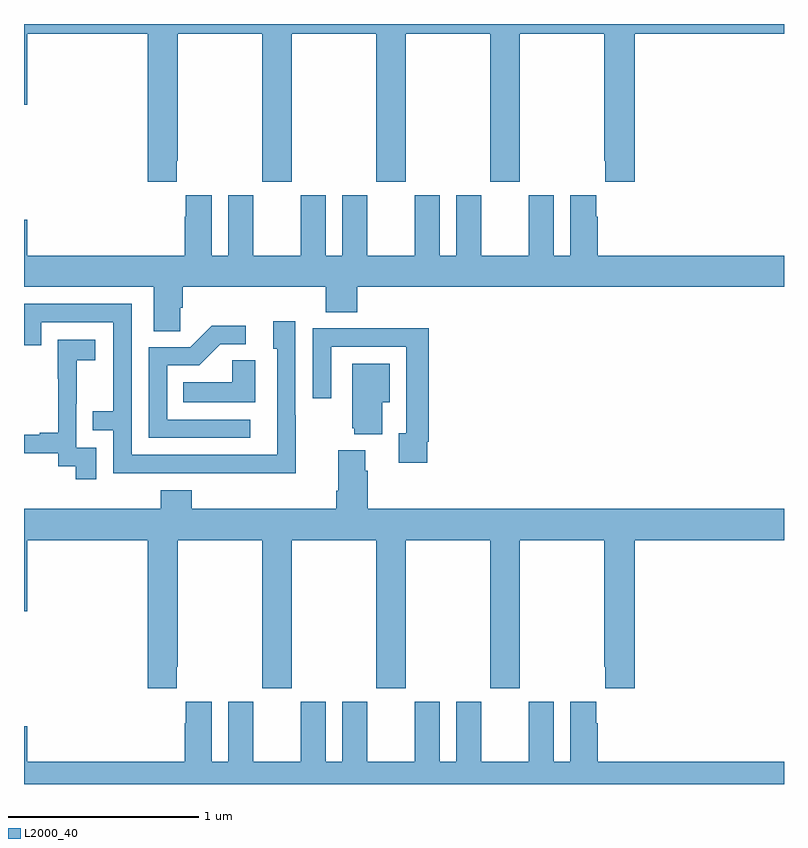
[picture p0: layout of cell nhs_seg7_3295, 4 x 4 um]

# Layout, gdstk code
import gdstk
lib = gdstk.Library(unit=1e-6, precision=1e-09)
def P(c, l, *ps):  # polygons
    for p in ps: c.add(gdstk.Polygon(p, *l))
L2000_40 = (2000, 40)

nhs_seg7_3295 = lib.new_cell('nhs_seg7_3295')
P(nhs_seg7_3295, L2000_40, [(321.805,1001.281),(321.81,1001.281),(321.81,1001.948),(322.255,1001.948),(322.255,1001.169),(322.41,1001.169),(322.41,1001.948),(322.855,1001.948),(322.855,1001.169),(323.01,1001.169),(323.01,1001.948),(323.455,1001.948),(323.455,1001.169),(323.61,1001.169),(323.61,1001.948),(324.055,1001.948),(324.055,1001.281),(324.059,1001.281),(324.059,1001.169),(324.215,1001.169),(324.215,1001.948),(325,1001.948),(325,1002),(321,1002),(321,1001.574),(321.016,1001.574),(321.016,1001.948),(321.65,1001.948),(321.65,1001.169),(321.805,1001.169)],
  [(321.822,1000.507),(321.836,1000.507),(321.836,1000.616),(322.589,1000.616),(322.589,1000.483),(322.754,1000.483),(322.754,1000.616),(325,1000.616),(325,1000.78),(324.02,1000.78),(324.02,1000.985),(324.013,1000.985),(324.013,1001.098),(323.876,1001.098),(323.876,1000.78),(323.788,1000.78),(323.788,1001.098),(323.657,1001.098),(323.657,1000.78),(323.407,1000.78),(323.407,1001.098),(323.276,1001.098),(323.276,1000.78),(323.188,1000.78),(323.188,1001.098),(323.057,1001.098),(323.057,1000.78),(322.807,1000.78),(322.807,1001.098),(322.676,1001.098),(322.676,1000.78),(322.588,1000.78),(322.588,1001.098),(322.457,1001.098),(322.457,1000.78),(322.207,1000.78),(322.207,1001.098),(322.076,1001.098),(322.076,1000.78),(321.988,1000.78),(321.988,1001.098),(321.851,1001.098),(321.851,1000.985),(321.845,1000.985),(321.845,1000.78),(321.016,1000.78),(321.016,1000.969),(321,1000.969),(321,1000.616),(321.683,1000.616),(321.683,1000.384),(321.822,1000.384)],
  [(322.431,999.941),(322.428,999.941),(322.428,1000.435),(322.313,1000.435),(322.313,1000.29),(322.332,1000.29),(322.332,999.732),(321.567,999.732),(321.567,1000.527),(321,1000.527),(321,1000.308),(321.09,1000.308),(321.09,1000.431),(321.471,1000.431),(321.471,999.962),(321.361,999.962),(321.361,999.861),(321.471,999.861),(321.471,999.636),(321.967,999.636),(321.967,999.635),(322.431,999.635)],
  [(322.192,999.918),(321.753,999.918),(321.753,1000.203),(321.922,1000.203),(322.033,1000.314),(322.168,1000.314),(322.168,1000.412),(321.989,1000.412),(321.876,1000.299),(321.657,1000.299),(321.657,999.822),(322.192,999.822)],
  [(323.122,999.802),(323.129,999.802),(323.129,1000.4),(322.837,1000.4),(322.837,1000.398),(322.521,1000.398),(322.521,1000.029),(322.617,1000.029),(322.617,1000.302),(323.013,1000.302),(323.013,999.846),(322.973,999.846),(322.973,999.69),(323.122,999.69)],
  [(321.381,999.771),(321.276,999.771),(321.276,1000.001),(321.278,1000.001),(321.278,1000.229),(321.376,1000.229),(321.376,1000.339),(321.178,1000.339),(321.178,1000.133),(321.179,1000.133),(321.179,999.85),(321.083,999.85),(321.083,999.837),(321,999.837),(321,999.741),(321.18,999.741),(321.18,999.673),(321.273,999.673),(321.273,999.603),(321.381,999.603)],
  [(322.216,1000.229),(322.095,1000.229),(322.095,1000.114),(321.838,1000.114),(321.838,1000.01),(322.216,1000.01)],
  [(322.885,1000.01),(322.924,1000.01),(322.924,1000.213),(322.727,1000.213),(322.727,999.873),(322.739,999.873),(322.739,999.842),(322.885,999.842)],
  [(322.795,999.65),(322.795,999.757),(322.655,999.757),(322.655,999.544),(322.643,999.544),(322.643,999.448),(321.884,999.448),(321.884,999.547),(321.719,999.547),(321.719,999.448),(321,999.448),(321,998.91),(321.016,998.91),(321.016,999.284),(321.65,999.284),(321.65,998.505),(321.805,998.505),(321.805,998.617),(321.81,998.617),(321.81,999.284),(322.255,999.284),(322.255,998.505),(322.41,998.505),(322.41,999.284),(322.855,999.284),(322.855,998.505),(323.01,998.505),(323.01,999.284),(323.455,999.284),(323.455,998.505),(323.61,998.505),(323.61,999.284),(324.055,999.284),(324.055,998.617),(324.059,998.617),(324.059,998.505),(324.215,998.505),(324.215,999.284),(325,999.284),(325,999.448),(322.808,999.448),(322.808,999.65)],
  [(325,998.116),(324.02,998.116),(324.02,998.321),(324.013,998.321),(324.013,998.434),(323.876,998.434),(323.876,998.116),(323.788,998.116),(323.788,998.434),(323.657,998.434),(323.657,998.116),(323.407,998.116),(323.407,998.434),(323.276,998.434),(323.276,998.116),(323.188,998.116),(323.188,998.434),(323.057,998.434),(323.057,998.116),(322.807,998.116),(322.807,998.434),(322.676,998.434),(322.676,998.116),(322.588,998.116),(322.588,998.434),(322.457,998.434),(322.457,998.116),(322.207,998.116),(322.207,998.434),(322.076,998.434),(322.076,998.116),(321.988,998.116),(321.988,998.434),(321.851,998.434),(321.851,998.321),(321.845,998.321),(321.845,998.116),(321.016,998.116),(321.016,998.305),(321,998.305),(321,998),(325,998)])

lib.write_gds('nhs_seg7_3295.gds')
